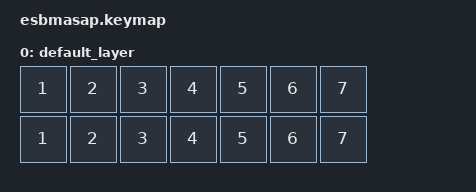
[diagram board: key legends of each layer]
#include <behaviors.dtsi>
#include <dt-bindings/zmk/keys.h>

/ {
	keymap {
		compatible = "zmk,keymap";
		default_layer {
			bindings = <
				&kp NUM_1  &kp NUM_2  &kp NUM_3  &kp NUM_4  &kp NUM_5  &kp NUM_6 &kp NUM_7
				&kp NUM_1  &kp NUM_2  &kp NUM_3  &kp NUM_4  &kp NUM_5  &kp NUM_6 &kp NUM_7
			>;
    };
	};
};
